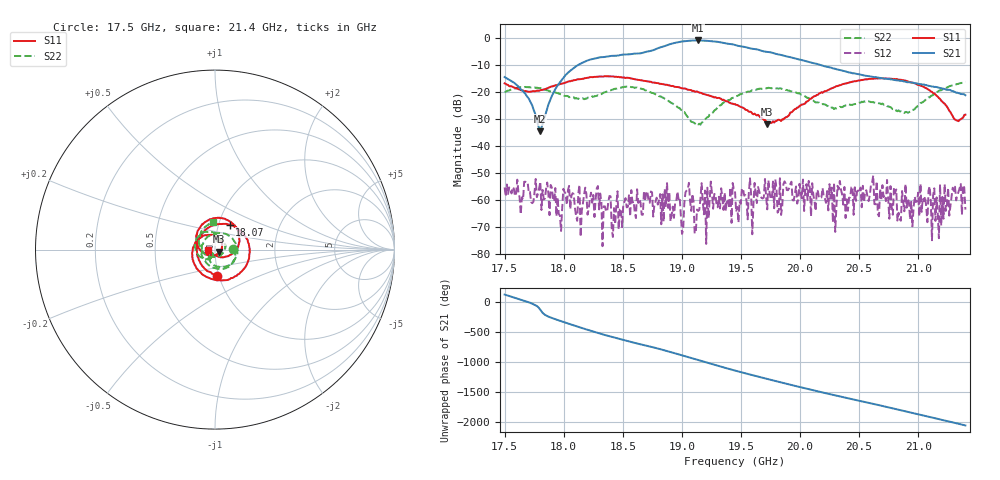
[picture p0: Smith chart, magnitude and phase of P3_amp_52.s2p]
!Created with skrf (http://scikit-rf.org).
# GHz S RI R 50.0
!freq ReS11 ImS11 ReS21 ImS21 ReS12 ImS12 ReS22 ImS22
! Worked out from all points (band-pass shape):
!   401 points, 17.5 GHz to 21.4 GHz, reference 50 ohm
!   highest |S21| = -0.90 dB at 19.14 GHz (marker M1); lowest = -34.5 dB at 17.8 GHz (marker M2)
!   |S21| within 3 dB of the highest: 18.79 GHz to 19.58 GHz (793.5 MHz wide, 4.14 % of centre)
!   lowest |S11| = -31.9 dB at 19.72 GHz (marker M3), VSWR 1.05, Z = 52.3 - j1.26 ohm
!   |S11| at or under -10 dB: start of sweep to end of sweep
!   |S22| runs from -32.1 to -16.2 dB; largest |S21 - S12| = 0.9
!   S11 on the Smith chart (normalised r, x): 17.5 GHz: 0.98, -0.29; 18.07 GHz: 1.13, +0.32; 21.4 GHz: 0.93, -0.00
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17.5  0.00933 -0.1443  -0.0951 0.1639  -0.000748 0.00154  0.0992 0.00162
17.80225  -0.0897 0.0603  -0.0131 -0.0134  0.000126 0.00217  0.0483 -0.1082
17.95825  -0.000732 0.1376  0.092 0.1064  0.000265 0.000487  -0.0338 -0.0874
18.0655  0.0823 0.1392  0.2411 -0.0914  0.00118 -0.000237  -0.0719 -0.0363
18.15325  0.1408 0.1034  0.0761 -0.3365  -0.00015 0.000616  -0.0734 0.0195
18.32875  0.1911 -0.0287  -0.4429 0.024  -0.00014 3.79e-06  0.0204 0.0921
18.50425  0.1052 -0.154  0.0593 0.4908  0.000426 -0.00068  0.1224 0.00981
18.67  -0.0273 -0.16  0.5327 0.0202  0.000456 -0.000281  0.062 -0.0946
18.8065  -0.1057 -0.0979  0.2852 -0.5943  -0.000842 -0.000527  -0.00965 -0.0833
18.904  -0.126 -0.0345  -0.3508 -0.6918  -0.00026 -0.000306  -0.0308 -0.0564
19.0015  -0.1145 0.0264  -0.8575 -0.1033  -0.000197 -0.00013  -0.0323 -0.0322
19.05025  -0.0991 0.0492  -0.8229 0.3256  -0.000472 -0.00151  -0.0255 -0.0231
19.138  -0.063 0.0778  -0.27 0.8604  0.000597 -0.000193  -0.0142 -0.0208
19.294  -0.00024 0.078  0.8089 0.2784  -0.000166 0.000798  -0.0191 -0.0452
19.45  0.035 0.0484  0.2971 -0.6837  0.000904 0.00117  -0.0648 -0.0505
19.59625  0.0381 0.0118  -0.4972 -0.3922  -6.06e-05 -0.000225  -0.108 -0.00672
19.723  0.0224 -0.012  -0.5003 0.2372  0.000638 0.000216  -0.105 0.0542
19.86925  -0.008 -0.0321  0.0691 0.4617  0.0015 -0.00163  -0.0535 0.0986
20.10325  -0.0788 -0.00602  0.2986 -0.1749  -0.00159 -0.0013  0.0135 0.0681
20.39575  -0.0897 0.1141  -0.2273 -0.0649  -0.000516 0.000899  0.0107 0.0557
20.7565  0.0846 0.1557  0.1378 0.1068  0.00044 -0.000101  0.053 -0.00553
21.4  -0.0382 -0.000252  -0.0135 0.0863  -0.00057 0.000346  -0.00917 0.1547
